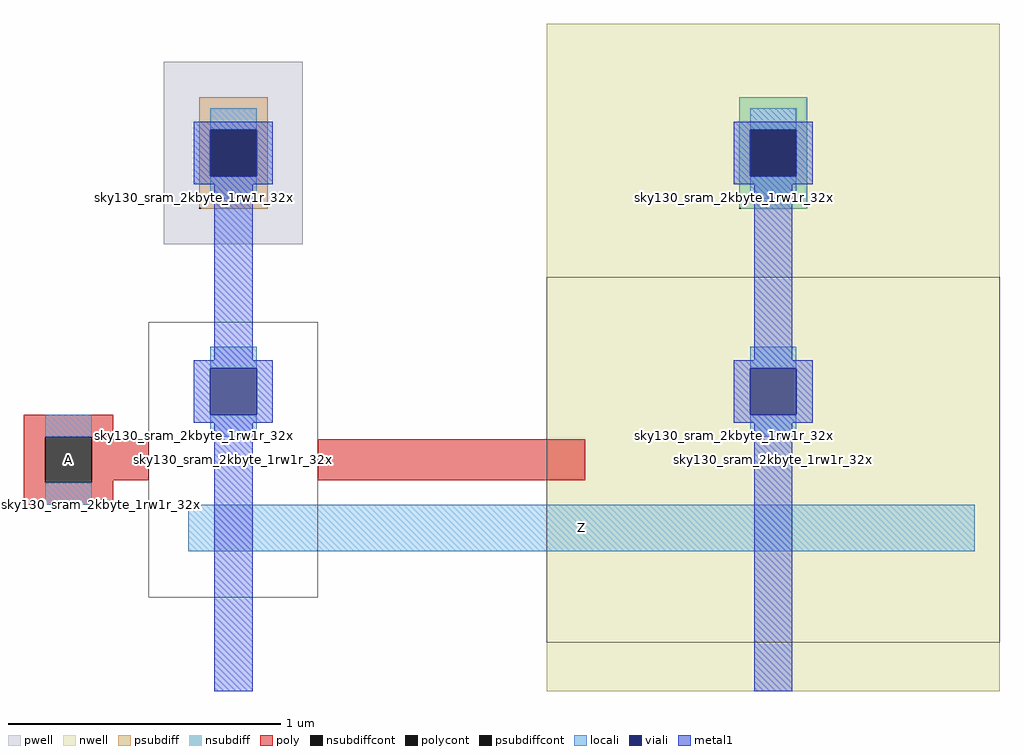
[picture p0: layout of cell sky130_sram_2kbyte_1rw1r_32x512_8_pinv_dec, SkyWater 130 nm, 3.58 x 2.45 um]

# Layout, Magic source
magic
tech sky130A
magscale 1 2
<< nwell >>
rect 428 0 760 490
<< pwell >>
rect 147 328 249 462
<< psubdiff >>
rect 173 412 223 436
rect 173 378 181 412
rect 215 378 223 412
rect 173 354 223 378
<< nsubdiff >>
rect 569 412 619 436
rect 569 378 577 412
rect 611 378 619 412
rect 569 354 619 378
<< psubdiffcont >>
rect 181 378 215 412
<< nsubdiffcont >>
rect 577 378 611 412
<< poly >>
rect 44 187 110 203
rect 44 153 60 187
rect 94 185 110 187
rect 94 155 136 185
rect 260 155 456 185
rect 94 153 110 155
rect 44 137 110 153
<< polycont >>
rect 60 153 94 187
<< locali >>
rect 181 412 215 428
rect 181 362 215 378
rect 577 412 611 428
rect 577 362 611 378
rect 181 237 215 253
rect 60 187 94 203
rect 181 187 215 203
rect 577 237 611 253
rect 577 187 611 203
rect 60 137 94 153
rect 165 103 742 137
<< viali >>
rect 181 378 215 412
rect 577 378 611 412
rect 181 203 215 237
rect 577 203 611 237
<< metal1 >>
rect 169 412 227 418
rect 169 378 181 412
rect 215 378 227 412
rect 169 372 227 378
rect 565 412 623 418
rect 565 378 577 412
rect 611 378 623 412
rect 565 372 623 378
rect 184 243 212 372
rect 580 243 608 372
rect 169 237 227 243
rect 169 203 181 237
rect 215 203 227 237
rect 169 197 227 203
rect 565 237 623 243
rect 565 203 577 237
rect 611 203 623 237
rect 565 197 623 203
rect 184 0 212 197
rect 580 0 608 197
use sky130_sram_2kbyte_1rw1r_32x512_8_contact_14  sky130_sram_2kbyte_1rw1r_32x512_8_contact_14_0
transform 1 0 565 0 1 187
box 0 0 1 1
use sky130_sram_2kbyte_1rw1r_32x512_8_contact_14  sky130_sram_2kbyte_1rw1r_32x512_8_contact_14_1
transform 1 0 169 0 1 187
box 0 0 1 1
use sky130_sram_2kbyte_1rw1r_32x512_8_contact_16  sky130_sram_2kbyte_1rw1r_32x512_8_contact_16_0
transform 1 0 44 0 1 137
box 0 0 1 1
use sky130_sram_2kbyte_1rw1r_32x512_8_contact_14  sky130_sram_2kbyte_1rw1r_32x512_8_contact_14_2
transform 1 0 169 0 1 362
box 0 0 1 1
use sky130_sram_2kbyte_1rw1r_32x512_8_contact_15  sky130_sram_2kbyte_1rw1r_32x512_8_contact_15_0
transform 1 0 173 0 1 354
box 0 0 1 1
use sky130_sram_2kbyte_1rw1r_32x512_8_contact_14  sky130_sram_2kbyte_1rw1r_32x512_8_contact_14_3
transform 1 0 565 0 1 362
box 0 0 1 1
use sky130_sram_2kbyte_1rw1r_32x512_8_contact_13  sky130_sram_2kbyte_1rw1r_32x512_8_contact_13_0
transform 1 0 569 0 1 354
box 0 0 1 1
use sky130_sram_2kbyte_1rw1r_32x512_8_nmos_m1_w0_360_sli_dli_da_p  sky130_sram_2kbyte_1rw1r_32x512_8_nmos_m1_w0_360_sli_dli_da_p_0
transform 0 1 162 -1 0 245
box -26 -26 176 98
use sky130_sram_2kbyte_1rw1r_32x512_8_pmos_m1_w1_120_sli_dli_da_p  sky130_sram_2kbyte_1rw1r_32x512_8_pmos_m1_w1_120_sli_dli_da_p_0
transform 0 1 482 -1 0 245
box -59 -54 209 278
<< labels >>
rlabel metal1 s 184 0 212 395 4 gnd
port 1 nsew
rlabel metal1 s 580 0 608 395 4 vdd
port 2 nsew
rlabel locali s 77 170 77 170 4 A
port 3 nsew
rlabel locali s 453 120 453 120 4 Z
port 4 nsew
<< properties >>
string FIXED_BBOX 0 0 742 395
string GDS_FILE $PDKPATH/libs.ref/sky130_sram_macros/gds/sky130_sram_2kbyte_1rw1r_32x512_8.gds
string GDS_END 21488
string GDS_START 19618
<< end >>
